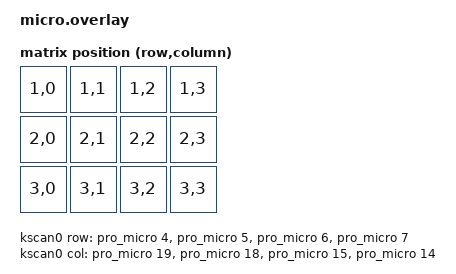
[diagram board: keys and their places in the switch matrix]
#include <dt-bindings/zmk/matrix_transform.h>

/ {
    chosen {
        zmk,kscan = &kscan0;
        zmk,matrix-transform = &default_transform;
        zmk,underglow = &led_strip; 
    };


    default_transform: keymap_transform_0 {
        compatible = "zmk,matrix-transform";
        columns = <4>;
        rows = <3>;
        map = <
			RC(1,0) RC(1,1) RC(1,2) RC(1,3)
			RC(2,0) RC(2,1) RC(2,2) RC(2,3)
		    RC(3,0) RC(3,1) RC(3,2) RC(3,3)
        >;
    };

        kscan0: kscan_0 {
        compatible = "zmk,kscan-gpio-matrix";
        diode-direction = "col2row";
        wakeup-source;

        col-gpios
            = <&pro_micro 19 GPIO_ACTIVE_HIGH>
            , <&pro_micro 18 GPIO_ACTIVE_HIGH>
            , <&pro_micro 15 GPIO_ACTIVE_HIGH>
            , <&pro_micro 14 GPIO_ACTIVE_HIGH>
            ;

        row-gpios
            = <&pro_micro 4 (GPIO_ACTIVE_HIGH | GPIO_PULL_DOWN)>
            , <&pro_micro 5 (GPIO_ACTIVE_HIGH | GPIO_PULL_DOWN)>
            , <&pro_micro 6 (GPIO_ACTIVE_HIGH | GPIO_PULL_DOWN)>
            , <&pro_micro 7 (GPIO_ACTIVE_HIGH | GPIO_PULL_DOWN)>
            ;
    };
    
    encoder: encoder {
        compatible = "alps,ec11";
        a-gpios = <&pro_micro 9 (GPIO_ACTIVE_HIGH | GPIO_PULL_UP)>;
        b-gpios = <&pro_micro 8 (GPIO_ACTIVE_HIGH | GPIO_PULL_UP)>;
        steps = <18>;
        status = "okay";
    };

    sensors {
      compatible = "zmk,keymap-sensors";
      sensors = <&encoder>;
      1 { triggers-per-rotation = <9>; };
      };
};

/ {
    /delete-node/ encoder;
};

&pinctrl {
    qdec_default: qdec_default {
        group1 {
            psels = <NRF_PSEL(QDEC_A, 1, 4)>,
                    <NRF_PSEL(QDEC_B, 1, 6)>;
            bias-pull-up;
        };
    };


// need second set of pins defined if deep sleep is enabled
    qdec_sleep: qdec_sleep {
        group1 {
            psels = <NRF_PSEL(QDEC_A, 1, 4)>,
                    <NRF_PSEL(QDEC_B, 1, 6)>;
            bias-pull-up; // TODO: find out if this makes sense with low-power-enable
            low-power-enable;
        };
    };
};

  // Set up the QDEC hardware based driver and give it the same label as the deleted node.
encoder: &qdec0 {
    status = "okay";
    led-pre = <0>;
    steps = <18>;
    pinctrl-0 = <&qdec_default>;
    pinctrl-1 = <&qdec_sleep>;
    pinctrl-names = "default", "sleep";
};
